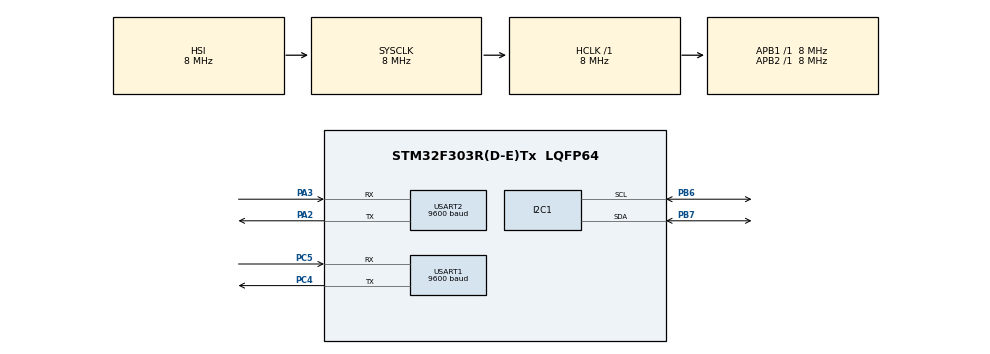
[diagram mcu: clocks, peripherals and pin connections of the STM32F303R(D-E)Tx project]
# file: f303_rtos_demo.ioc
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FREERTOS.Tasks01=fakeEjection,16,1000,StartFakeEjection,Default,NULL,Static,fakeEjectionBuffer,fakeEjectionControlBlock;fakeSensors,24,1000,StartFakeSensors,Default,NULL,Static,fakeSensorsBuffer,fakeSensorsControlBlock;fakeTelemetry,16,1000,StartFakeTelemetry,Default,NULL,Static,fakeTelemetryBuffer,fakeTelemetryControlBlock;GPS,8,1000,GPS_rtos,Default,NULL,Static,GPSBuffer,GPSControlBlock
FREERTOS.configUSE_NEWLIB_REENTRANT=1
Mcu.Family=STM32F3
Mcu.Name=STM32F303R(D-E)Tx
Mcu.Package=LQFP64
NVIC.PriorityGroup=NVIC_PRIORITYGROUP_4
NVIC.TIM6_DAC_IRQn=true\:0\:0\:false\:false\:true\:false\:false\:true
NVIC.TimeBase=TIM6_DAC_IRQn
NVIC.TimeBaseIP=TIM6
PA2.Mode=Asynchronous
PA2.Signal=USART2_TX
PA3.Mode=Asynchronous
PA3.Signal=USART2_RX
PB6.Mode=I2C
PB6.Signal=I2C1_SCL
PB7.Mode=I2C
PB7.Signal=I2C1_SDA
PC4.Mode=Asynchronous
PC4.Signal=USART1_TX
PC5.Mode=Asynchronous
PC5.Signal=USART1_RX
ProjectManager.HeapSize=0x200
ProjectManager.StackSize=0x400
ProjectManager.TargetToolchain=STM32CubeIDE
RCC.AHBFreq_Value=8000000
RCC.APB1Freq_Value=8000000
RCC.APB2Freq_Value=8000000
RCC.CortexFreq_Value=8000000
RCC.HSE_VALUE=8000000
RCC.HSI_VALUE=8000000
RCC.LSE_VALUE=32768
RCC.SYSCLKFreq_VALUE=8000000
RCC.USBFreq_Value=16000000
USART1.BaudRate=9600
USART1.VirtualMode-Asynchronous=VM_ASYNC
USART2.BaudRate=9600
USART2.VirtualMode-Asynchronous=VM_ASYNC
VP_FREERTOS_VS_CMSIS_V2.Mode=CMSIS_V2
VP_SYS_VS_tim6.Mode=TIM6
board=custom

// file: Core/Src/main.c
/* USER CODE BEGIN Header */
/**
  ******************************************************************************
  * @file           : main.c
  * @brief          : Main program body
  ******************************************************************************
  * @attention
  *
  * <h2><center>&copy; Copyright (c) 2021 STMicroelectronics.
  * All rights reserved.</center></h2>
  *
  * This software component is licensed by ST under Ultimate Liberty license
  * SLA0044, the "License"; You may not use this file except in compliance with
  * the License. You may obtain a copy of the License at:
  *                             www.st.com/SLA0044
  *
  ******************************************************************************
  */
/* USER CODE END Header */
#include "main.h"
#include "cmsis_os.h"

/* USER CODE BEGIN Includes */
#include <string.h>
#include <stdarg.h>
#include <stdio.h>
#include <stdlib.h>
#include "lps22hh_reg.h"
#include "lsm6dsr_reg.h"
/* USER CODE END Includes */

typedef StaticTask_t osStaticThreadDef_t;

/* USER CODE BEGIN PM */
stmdev_ctx_t dev_ctx_lsm;
stmdev_ctx_t dev_ctx_lps;
float acceleration[] = {0, 0, 0};
float angular_rate[]= {0, 0, 0};
float pressure = 0;
float temperature = 0;
float latitude;
float longitude;
float time;

/* USER CODE END PM */

I2C_HandleTypeDef hi2c1;

UART_HandleTypeDef huart1;
UART_HandleTypeDef huart2;

/* Definitions for fakeEjection */
osThreadId_t fakeEjectionHandle;
uint32_t fakeEjectionBuffer[ 1000 ];
osStaticThreadDef_t fakeEjectionControlBlock;
const osThreadAttr_t fakeEjection_attributes = {
  .name = "fakeEjection",
  .cb_mem = &fakeEjectionControlBlock,
  .cb_size = sizeof(fakeEjectionControlBlock),
  .stack_mem = &fakeEjectionBuffer[0],
  .stack_size = sizeof(fakeEjectionBuffer),
  .priority = (osPriority_t) osPriorityBelowNormal,
};
/* Definitions for fakeSensors */
osThreadId_t fakeSensorsHandle;
uint32_t fakeSensorsBuffer[ 1000 ];
osStaticThreadDef_t fakeSensorsControlBlock;
const osThreadAttr_t fakeSensors_attributes = {
  .name = "fakeSensors",
  .cb_mem = &fakeSensorsControlBlock,
  .cb_size = sizeof(fakeSensorsControlBlock),
  .stack_mem = &fakeSensorsBuffer[0],
  .stack_size = sizeof(fakeSensorsBuffer),
  .priority = (osPriority_t) osPriorityNormal,
};
/* Definitions for fakeTelemetry */
osThreadId_t fakeTelemetryHandle;
uint32_t fakeTelemetryBuffer[ 1000 ];
osStaticThreadDef_t fakeTelemetryControlBlock;
const osThreadAttr_t fakeTelemetry_attributes = {
  .name = "fakeTelemetry",
  .cb_mem = &fakeTelemetryControlBlock,
  .cb_size = sizeof(fakeTelemetryControlBlock),
  .stack_mem = &fakeTelemetryBuffer[0],
  .stack_size = sizeof(fakeTelemetryBuffer),
  .priority = (osPriority_t) osPriorityBelowNormal,
};
/* Definitions for GPS */
osThreadId_t GPSHandle;
uint32_t GPSBuffer[ 1000 ];
osStaticThreadDef_t GPSControlBlock;
const osThreadAttr_t GPS_attributes = {
  .name = "GPS",
  .cb_mem = &GPSControlBlock,
  .cb_size = sizeof(GPSControlBlock),
  .stack_mem = &GPSBuffer[0],
  .stack_size = sizeof(GPSBuffer),
  .priority = (osPriority_t) osPriorityLow,
};

void SystemClock_Config(void);
static void MX_GPIO_Init(void);
static void MX_USART2_UART_Init(void);
static void MX_I2C1_Init(void);
static void MX_USART1_UART_Init(void);
void StartFakeEjection(void *argument);
void StartFakeSensors(void *argument);
void StartFakeTelemetry(void *argument);
void GPS_rtos(void *argument);

/* USER CODE BEGIN PFP */

// LSM6DSR functions
extern stmdev_ctx_t lsm6dsr_init(void);
extern void get_acceleration(stmdev_ctx_t dev_ctx, float *acceleration_mg);
extern void get_angvelocity(stmdev_ctx_t dev_ctx, float *angular_rate_mdps);
// LPS22HH functions
extern stmdev_ctx_t lps22hh_init(void);
extern void get_pressure(stmdev_ctx_t dev_ctx,  float *pressure);
extern void get_temperature(stmdev_ctx_t dev_ctx,  float *temperature);

void GPS_Poll(float*, float*, float*);
/*
void myprintf(const char *fmt, ...) {
	static char buffer[256];
	va_list args;
	va_start(args, fmt);
	vsnprintf(buffer, sizeof(buffer), fmt, args);
	va_end(args);

	int len = strlen(buffer);
	HAL_UART_Transmit(&huart3, (uint8_t*) buffer, len, -1);
}
*/
void myprintf(char* buffer) {
	HAL_UART_Transmit(&huart2, (uint8_t*) buffer, 100, 100);
}

/* USER CODE END PFP */

int main(void)
{

  /* MCU Configuration--------------------------------------------------------*/

  /* Reset of all peripherals, Initializes the Flash interface and the Systick. */
  HAL_Init();

  /* Configure the system clock */
  SystemClock_Config();

  /* Initialize all configured peripherals */
  MX_GPIO_Init();
  MX_USART2_UART_Init();
  MX_I2C1_Init();
  MX_USART1_UART_Init();
  /* USER CODE BEGIN 2 */
  dev_ctx_lsm = lsm6dsr_init();
  dev_ctx_lps = lps22hh_init();
  /* USER CODE END 2 */

  /* Init scheduler */
  osKernelInitialize();

  /* Create the thread(s) */
  /* creation of fakeEjection */
  fakeEjectionHandle = osThreadNew(StartFakeEjection, NULL, &fakeEjection_attributes);

  /* creation of fakeSensors */
  fakeSensorsHandle = osThreadNew(StartFakeSensors, NULL, &fakeSensors_attributes);

  /* creation of fakeTelemetry */
  fakeTelemetryHandle = osThreadNew(StartFakeTelemetry, NULL, &fakeTelemetry_attributes);

  /* creation of GPS */
  GPSHandle = osThreadNew(GPS_rtos, NULL, &GPS_attributes);

  /* Start scheduler */
  osKernelStart();

  /* We should never get here as control is now taken by the scheduler */
  /* Infinite loop */
  while (1)
  {

  }
}

void SystemClock_Config(void)
{
  RCC_OscInitTypeDef RCC_OscInitStruct = {0};
  RCC_ClkInitTypeDef RCC_ClkInitStruct = {0};
  RCC_PeriphCLKInitTypeDef PeriphClkInit = {0};

  /** Initializes the RCC Oscillators according to the specified parameters
  * in the RCC_OscInitTypeDef structure.
  */
  RCC_OscInitStruct.OscillatorType = RCC_OSCILLATORTYPE_HSI;
  RCC_OscInitStruct.HSIState = RCC_HSI_ON;
  RCC_OscInitStruct.HSICalibrationValue = RCC_HSICALIBRATION_DEFAULT;
  RCC_OscInitStruct.PLL.PLLState = RCC_PLL_NONE;
  if (HAL_RCC_OscConfig(&RCC_OscInitStruct) != HAL_OK)
  {
    Error_Handler();
  }
  /** Initializes the CPU, AHB and APB buses clocks
  */
  RCC_ClkInitStruct.ClockType = RCC_CLOCKTYPE_HCLK|RCC_CLOCKTYPE_SYSCLK
                              |RCC_CLOCKTYPE_PCLK1|RCC_CLOCKTYPE_PCLK2;
  RCC_ClkInitStruct.SYSCLKSource = RCC_SYSCLKSOURCE_HSI;
  RCC_ClkInitStruct.AHBCLKDivider = RCC_SYSCLK_DIV1;
  RCC_ClkInitStruct.APB1CLKDivider = RCC_HCLK_DIV1;
  RCC_ClkInitStruct.APB2CLKDivider = RCC_HCLK_DIV1;

  if (HAL_RCC_ClockConfig(&RCC_ClkInitStruct, FLASH_LATENCY_0) != HAL_OK)
  {
    Error_Handler();
  }
  PeriphClkInit.PeriphClockSelection = RCC_PERIPHCLK_USART1|RCC_PERIPHCLK_USART2
                              |RCC_PERIPHCLK_I2C1;
  PeriphClkInit.Usart1ClockSelection = RCC_USART1CLKSOURCE_PCLK2;
  PeriphClkInit.Usart2ClockSelection = RCC_USART2CLKSOURCE_PCLK1;
  PeriphClkInit.I2c1ClockSelection = RCC_I2C1CLKSOURCE_HSI;
  if (HAL_RCCEx_PeriphCLKConfig(&PeriphClkInit) != HAL_OK)
  {
    Error_Handler();
  }
}

static void MX_I2C1_Init(void)
{

  hi2c1.Instance = I2C1;
  hi2c1.Init.Timing = 0x2000090E;
  hi2c1.Init.OwnAddress1 = 0;
  hi2c1.Init.AddressingMode = I2C_ADDRESSINGMODE_7BIT;
  hi2c1.Init.DualAddressMode = I2C_DUALADDRESS_DISABLE;
  hi2c1.Init.OwnAddress2 = 0;
  hi2c1.Init.OwnAddress2Masks = I2C_OA2_NOMASK;
  hi2c1.Init.GeneralCallMode = I2C_GENERALCALL_DISABLE;
  hi2c1.Init.NoStretchMode = I2C_NOSTRETCH_DISABLE;
  if (HAL_I2C_Init(&hi2c1) != HAL_OK)
  {
    Error_Handler();
  }
  /** Configure Analogue filter
  */
  if (HAL_I2CEx_ConfigAnalogFilter(&hi2c1, I2C_ANALOGFILTER_ENABLE) != HAL_OK)
  {
    Error_Handler();
  }
  /** Configure Digital filter
  */
  if (HAL_I2CEx_ConfigDigitalFilter(&hi2c1, 0) != HAL_OK)
  {
    Error_Handler();
  }

}

static void MX_USART1_UART_Init(void)
{

  huart1.Instance = USART1;
  huart1.Init.BaudRate = 9600;
  huart1.Init.WordLength = UART_WORDLENGTH_8B;
  huart1.Init.StopBits = UART_STOPBITS_1;
  huart1.Init.Parity = UART_PARITY_NONE;
  huart1.Init.Mode = UART_MODE_TX_RX;
  huart1.Init.HwFlowCtl = UART_HWCONTROL_NONE;
  huart1.Init.OverSampling = UART_OVERSAMPLING_16;
  huart1.Init.OneBitSampling = UART_ONE_BIT_SAMPLE_DISABLE;
  huart1.AdvancedInit.AdvFeatureInit = UART_ADVFEATURE_NO_INIT;
  if (HAL_UART_Init(&huart1) != HAL_OK)
  {
    Error_Handler();
  }

}

static void MX_USART2_UART_Init(void)
{

  huart2.Instance = USART2;
  huart2.Init.BaudRate = 9600;
  huart2.Init.WordLength = UART_WORDLENGTH_8B;
  huart2.Init.StopBits = UART_STOPBITS_1;
  huart2.Init.Parity = UART_PARITY_NONE;
  huart2.Init.Mode = UART_MODE_TX_RX;
  huart2.Init.HwFlowCtl = UART_HWCONTROL_NONE;
  huart2.Init.OverSampling = UART_OVERSAMPLING_16;
  huart2.Init.OneBitSampling = UART_ONE_BIT_SAMPLE_DISABLE;
  huart2.AdvancedInit.AdvFeatureInit = UART_ADVFEATURE_NO_INIT;
  if (HAL_UART_Init(&huart2) != HAL_OK)
  {
    Error_Handler();
  }

}

static void MX_GPIO_Init(void)
{

  /* GPIO Ports Clock Enable */
  __HAL_RCC_GPIOA_CLK_ENABLE();
  __HAL_RCC_GPIOC_CLK_ENABLE();
  __HAL_RCC_GPIOB_CLK_ENABLE();

}

void StartFakeEjection(void *argument)
{
  /* USER CODE BEGIN 5 */
  /* Infinite loop */
	char* buffer = (char*)malloc(100);
	memset(buffer, 0, 100);
  for(;;)
  {
	  if(temperature > 30)
	  {
		  sprintf(buffer, "EJECT or smthg\r\n");
		  myprintf(buffer);
	  }
    osDelay(1000);
  }
  /* USER CODE END 5 */
}

void StartFakeSensors(void *argument)
{
  /* USER CODE BEGIN StartFakeSensors */
  /* Infinite loop */
	uint32_t i = 0;
	char* buffer = (char*)malloc(100);
	memset(buffer, 0, 100);
  for(;;)
  {
	  get_pressure(dev_ctx_lps, &pressure);
	  get_temperature(dev_ctx_lps,  &temperature);
	  get_acceleration(dev_ctx_lsm, acceleration);
	  get_angvelocity(dev_ctx_lsm, angular_rate);
	  sprintf(buffer, "IN acceleration: %f,%f,%f\r\n", acceleration[0], acceleration[1], acceleration[2]);
	  myprintf(buffer);
	  memset(buffer, 0, 100);
	  sprintf(buffer, "IN angular_rate: %f,%f,%f\r\n", angular_rate[0], angular_rate[1], angular_rate[2]);
	  myprintf(buffer);
	  memset(buffer, 0, 100);
	  sprintf(buffer, "IN pressure: %f\r\n", pressure);
	  myprintf(buffer);
	  memset(buffer, 0, 100);
	  sprintf(buffer, "IN temperature: %f\r\n", temperature);
	  myprintf(buffer);
	  memset(buffer, 0, 100);
	  ++i;
    osDelay(1000);
  }
  /* USER CODE END StartFakeSensors */
}

void StartFakeTelemetry(void *argument)
{
  /* USER CODE BEGIN StartFakeTelemetry */
  /* Infinite loop */
	char* buffer1 = (char*)malloc(100);
	memset(buffer1, 0, 100);
  for(;;)
  {
	  sprintf(buffer1, "OUT GPS: %f, %f, %f\r\n", latitude, longitude, time);
	  myprintf(buffer1);
	  sprintf(buffer1, "OUT acceleration: %f,%f,%f\r\n", acceleration[0], acceleration[1], acceleration[2]);
	  myprintf(buffer1);
	  memset(buffer1, 0, 100);
	  sprintf(buffer1, "OUT angular_rate: %f,%f,%f\r\n", angular_rate[0], angular_rate[1], angular_rate[2]);
	  myprintf(buffer1);
	  memset(buffer1, 0, 100);
	  sprintf(buffer1, "OUT pressure: %f\r\n", pressure);
	  myprintf(buffer1);
	  memset(buffer1, 0, 100);
	  sprintf(buffer1, "OUT temperature: %f\r\n", temperature);
	  myprintf(buffer1);
	  memset(buffer1, 0, 100);
    osDelay(5000);
  }
  /* USER CODE END StartFakeTelemetry */
}

void GPS_rtos(void *argument)
{
  /* USER CODE BEGIN GPS_rtos */
  /* Infinite loop */
	char* buffer = (char*)malloc(100);
	memset(buffer, 0, 100);
  for(;;)
  {
	  GPS_Poll(&latitude, &longitude, &time);
	  sprintf(buffer, "IN GPS: %f, %f, %f\r\n", latitude, longitude, time);
	  myprintf(buffer);
	  osDelay(1000);
  }
  /* USER CODE END GPS_rtos */
}

void HAL_TIM_PeriodElapsedCallback(TIM_HandleTypeDef *htim)
{
  if (htim->Instance == TIM6) {
    HAL_IncTick();
  }
}

void Error_Handler(void)
{
  __disable_irq();
  while (1)
  {
  }
}

/************************ (C) COPYRIGHT STMicroelectronics *****END OF FILE****/
